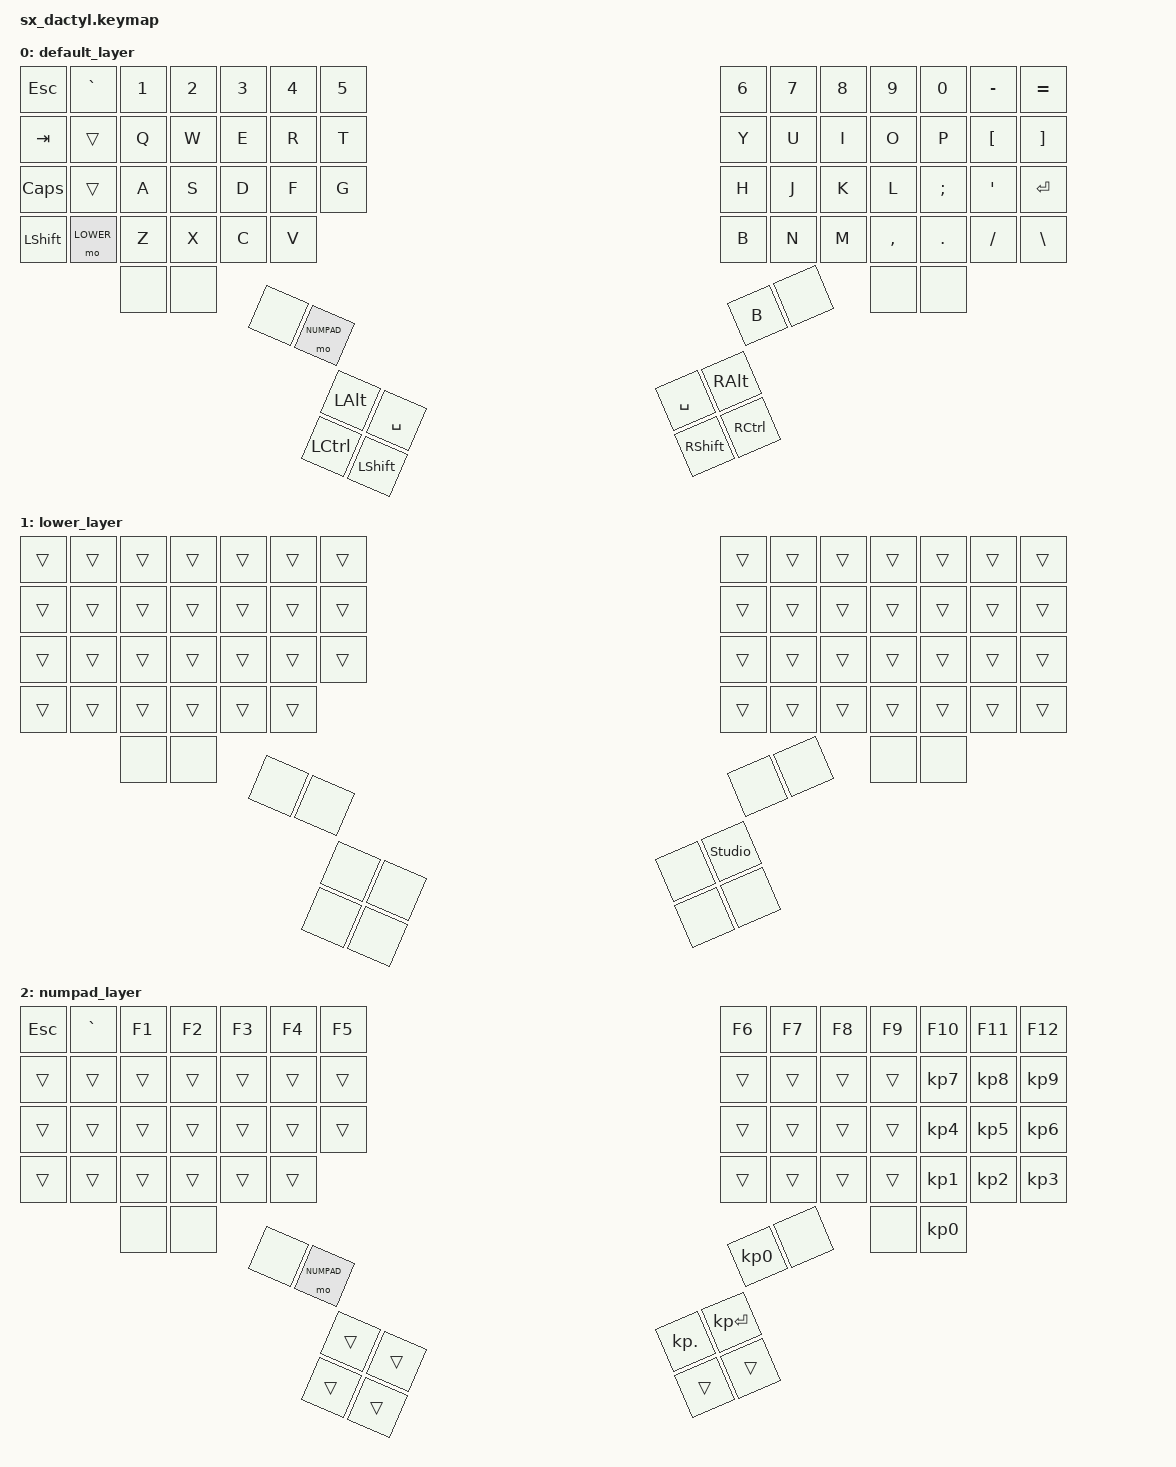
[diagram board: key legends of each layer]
#include <behaviors.dtsi>
#include <dt-bindings/zmk/keys.h>
#include <dt-bindings/zmk/bt.h>

// Define Layer Indexes
#define DEFAULT 0
#define LOWER   1
#define NUMPAD  2

/ {
    keymap {
        compatible = "zmk,keymap";

        default_layer {
            bindings = <
// ---------------------------------------------------------------------------------------------------------------------------------
// | ESC  |  `   |  1  |  2  |  3  |  4  |  5  |   |  6  |  7  |  8  |  9  |  0  |  -  |  =  |
// | TAB  | TRANS|  Q  |  W  |  E  |  R  |  T  |   |  Y  |  U  |  I  |  O  |  P  |  [  |  ]  |
// | CAPS | TRANS|  A  |  S  |  D  |  F  |  G  |   |  H  |  J  |  K  |  L  |  ;  |  '  | ENT |
// | SHFT | MO(1)|  Z  |  X  |  C  |  V  |         |  B  |  N  |  M  |  ,  |  .  |  /  |  \  |
//               |     |     |                                 |     |     |
//                           |     |MO(2)|         | B   |     |
//                                 |alt  |space|   |space|alt  |
//                                 |ctrl |shift|   |shift|ctrl |

    &kp ESC    &kp GRAVE  &kp N1    &kp N2    &kp N3    &kp N4    &kp N5       &kp N6    &kp N7    &kp N8    &kp N9    &kp N0    &kp MINUS &kp EQUAL
    &kp TAB    &trans     &kp Q     &kp W     &kp E     &kp R     &kp T        &kp Y     &kp U     &kp I     &kp O     &kp P     &kp LBKT  &kp RBKT
    &kp CAPS   &trans     &kp A     &kp S     &kp D     &kp F     &kp G        &kp H     &kp J     &kp K     &kp L     &kp SEMI  &kp SQT   &kp RET
    &kp LSHFT  &mo LOWER  &kp Z     &kp X     &kp C     &kp V                 &kp B     &kp N     &kp M     &kp COMMA &kp DOT   &kp FSLH  &kp BSLH
                          &none     &none                                       &none     &none
                                              &none     &mo NUMPAD             &kp B     &none
                                                        &kp LALT  &kp SPACE   &kp SPACE &kp RALT
                                                        &kp LCTRL &kp LSHFT   &kp RSHFT &kp RCTRL
            >;
        };

        lower_layer {
            bindings = <
// ---------------------------------------------------------------------------------------------------------------------------------
// On this layer, most keys are 'trans' (inherit from Layer 0), except the Studio Unlock key
    &trans     &trans     &trans    &trans    &trans    &trans    &trans       &trans    &trans    &trans    &trans    &trans    &trans    &trans
    &trans     &trans     &trans    &trans    &trans    &trans    &trans       &trans    &trans    &trans    &trans    &trans    &trans    &trans
    &trans     &trans     &trans    &trans    &trans    &trans    &trans       &trans    &trans    &trans    &trans    &trans    &trans    &trans
    &trans     &trans     &trans    &trans    &trans    &trans                           &trans    &trans    &trans    &trans    &trans    &trans    &trans
                          &none     &none                                                &none     &none
                                              &none     &none                  &none     &none
                                                        &none     &none        &none     &studio_unlock
                                                        &none     &none        &none     &none
            >;
        };

        numpad_layer {
            bindings = <
// ---------------------------------------------------------------------------------------------------------------------------------
// | ESC  |  `   | F1  | F2  | F3  | F4  | F5  |   | F6  | F7  | F8  | F9  | F10 | F11 | F12 |
// | TAB  | TRANS|  Q  |  W  |  E  |  R  |  T  |   |  Y  |  U  |  I  |     | KP7 | KP8 | KP9 |
// | CAPS | TRANS|  A  |  S  |  D  |  F  |  G  |   |  H  |  J  |  K  |     | KP4 | KP5 | KP6 |
// | SHFT | MO(1)|  Z  |  X  |  C  |  V  |         |  B  |  N  |  M  |     | KP1 | KP2 | KP3 |
//               |     |     |                                 |     | KP0 |
//                           |     |MO(2)|         | KP0|     |
//                                 |alt  |space|   |KP. |ENTR |
//                                 |ctrl |shift|   |shift|ctrl |

    &kp ESC    &kp GRAVE  &kp F1    &kp F2    &kp F3    &kp F4    &kp F5       &kp F6    &kp F7    &kp F8    &kp F9    &kp F10   &kp F11   &kp F12
    &trans     &trans     &trans    &trans    &trans    &trans    &trans       &trans    &trans    &trans    &trans    &kp KP_N7 &kp KP_N8 &kp KP_N9 
    &trans     &trans     &trans    &trans    &trans    &trans    &trans       &trans    &trans    &trans    &trans    &kp KP_N4 &kp KP_N5 &kp KP_N6 
    &trans     &trans     &trans    &trans    &trans    &trans                 &trans    &trans    &trans    &trans    &kp KP_N1 &kp KP_N2 &kp KP_N3
                          &none     &none                                                &none     &kp KP_N0
                                              &none     &mo NUMPAD             &kp KP_N0 &none
                                                        &trans    &trans      &kp KP_DOT &kp KP_ENTER
                                                        &trans    &trans      &trans     &trans
            >;
        };
    };
};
